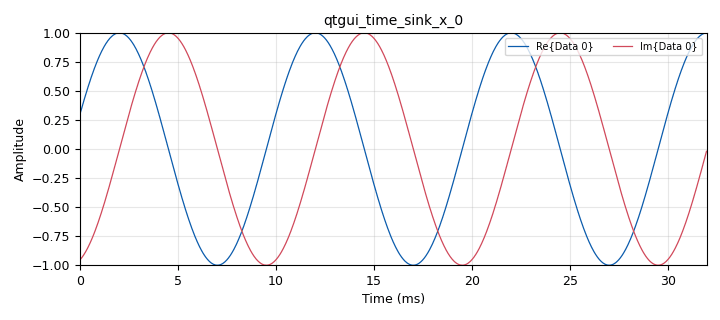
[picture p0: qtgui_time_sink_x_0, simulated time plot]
options:
  parameters:
    generate_options: qt_gui
    id: gnuradio_hello1
    output_language: python
    title: cosine and sampler
  states: {}

blocks:
- name: analog_sig_source_x_0
  id: analog_sig_source_x
  parameters:
    amp: '1'
    freq: '100'
    offset: '0'
    phase: '0'
    samp_rate: '32000'
    type: complex
    waveform: analog.GR_COS_WAVE
  states: {}
- name: blocks_throttle2_0
  id: blocks_throttle2
  parameters:
    samples_per_second: '32000'
    type: complex
  states: {}
- name: qtgui_time_sink_x_0
  id: qtgui_time_sink_x
  parameters:
    size: '1024'
    srate: '32000'
    type: complex
  states: {}

connections:
- [analog_sig_source_x_0, '0', blocks_throttle2_0, '0']
- [blocks_throttle2_0, '0', qtgui_time_sink_x_0, '0']

metadata:
  file_format: 1
  grc_version: 3.10.9.2
